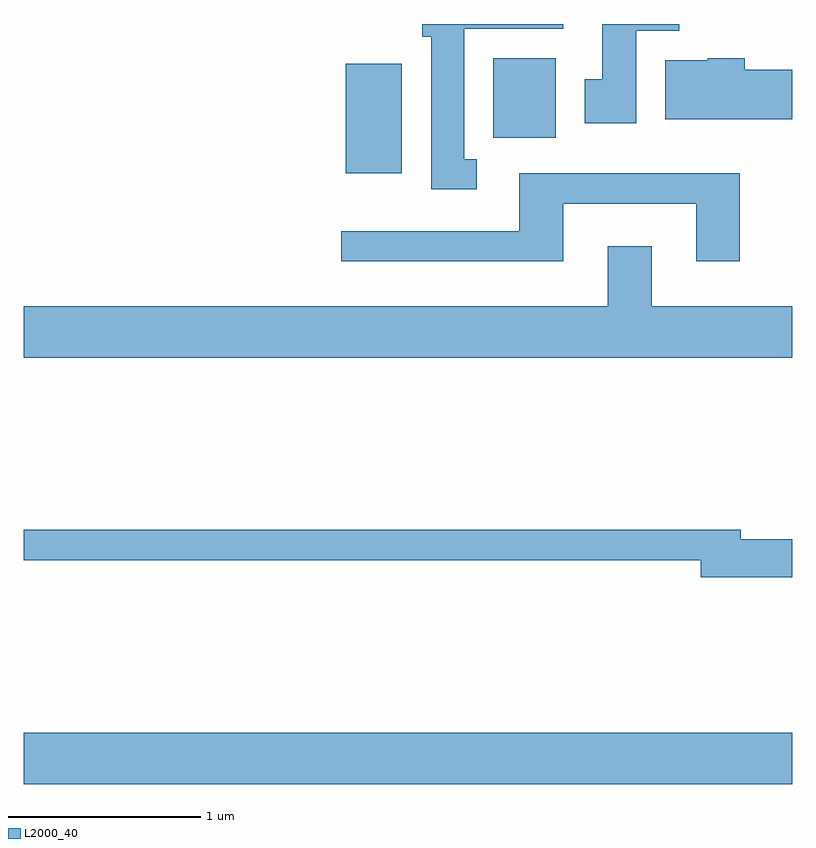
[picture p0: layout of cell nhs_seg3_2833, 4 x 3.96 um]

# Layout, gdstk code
import gdstk
lib = gdstk.Library(unit=1e-6, precision=1e-09)
def R(c, l, rs):  # rectangles x0, y0, x1, y1
    for r in rs: c.add(gdstk.rectangle(r[:2], r[2:], *l))
def P(c, l, *ps):  # polygons
    for p in ps: c.add(gdstk.Polygon(p, *l))
L2000_40 = (2000, 40)

nhs_seg3_2833 = lib.new_cell('nhs_seg3_2833')
R(nhs_seg3_2833, L2000_40, [(267.611,1205.936,271.611,1206.204), (269.286,1209.116,269.579,1209.684), (270.056,1209.301,270.379,1209.714)])
P(nhs_seg3_2833, L2000_40, [(270.799,1209.856),(271.024,1209.856),(271.024,1209.892),(270.621,1209.892),(270.621,1209.604),(270.531,1209.604),(270.531,1209.376),(270.799,1209.376)],
  [(269.968,1209.189),(269.904,1209.189),(269.904,1209.866),(270.419,1209.866),(270.419,1209.892),(269.686,1209.892),(269.686,1209.826),(269.731,1209.826),(269.731,1209.031),(269.968,1209.031)],
  [(271.611,1209.654),(271.364,1209.654),(271.364,1209.714),(271.17,1209.714),(271.17,1209.704),(270.951,1209.704),(270.951,1209.396),(271.611,1209.396)],
  [(270.419,1208.956),(271.111,1208.956),(271.111,1208.656),(271.339,1208.656),(271.339,1209.114),(270.191,1209.114),(270.191,1208.814),(269.263,1208.814),(269.263,1208.656),(270.419,1208.656)],
  [(271.611,1208.424),(270.879,1208.424),(270.879,1208.734),(270.651,1208.734),(270.651,1208.424),(267.611,1208.424),(267.611,1208.156),(271.611,1208.156)],
  [(271.611,1207.209),(271.344,1207.209),(271.344,1207.259),(267.611,1207.259),(267.611,1207.101),(271.136,1207.101),(271.136,1207.011),(271.611,1207.011)])

lib.write_gds('nhs_seg3_2833.gds')
